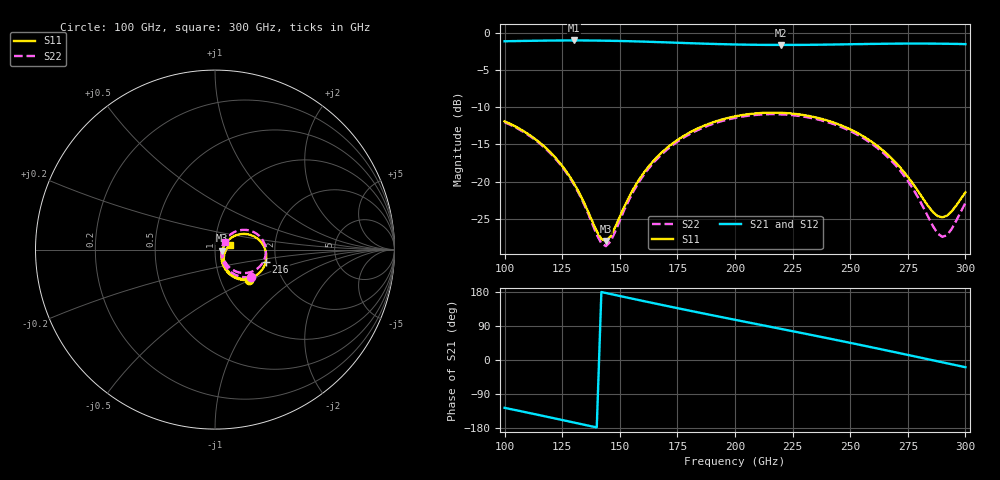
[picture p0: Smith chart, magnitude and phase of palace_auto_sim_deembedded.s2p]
! Created with skrf 1.11.0 (http://scikit-rf.org).
# GHz S DB R 50.0
!freq dBS11 angS11 dBS21 angS21 dBS12 angS12 dBS22 angS22
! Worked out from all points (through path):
!   101 points, 100 GHz to 300 GHz, reference 50 ohm
!   highest |S21| = -1.04 dB at 130 GHz (marker M1); lowest = -1.6 dB at 220 GHz (marker M2)
!   group delay of S21, straight-line fit = 3.48 ps
!   lowest |S11| = -28.0 dB at 144 GHz (marker M3), VSWR 1.08, Z = 54.1 - j0.714 ohm
!   |S11| at or under -10 dB: start of sweep to end of sweep
!   |S22| runs from -28.7 to -10.9 dB; largest |S21 - S12| = 9.8e-14
!   S11 on the Smith chart (normalised r, x): 100 GHz: 1.37, -0.49; 216 GHz: 1.76, -0.26; 300 GHz: 1.17, +0.06
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100  -11.91 -41.6  -1.15 -126.2  -1.15 -126.2  -12.03 -37.3
118  -15.51 -58.2  -1.06 -149.3  -1.06 -149.3  -15.64 -53.3
130  -20.18 -62.5  -1.04 -164.9  -1.04 -164.9  -20.34 -57.7
134  -22.51 -59.3  -1.04 -170.1  -1.04 -170.1  -22.71 -54.7
140  -26.68 -39.5  -1.06 -178.0  -1.06 -178.0  -27.13 -35.3
142  -27.71 -25.8  -1.06 179.3  -1.06 179.3  -28.31 -21.1
144  -27.97 -9.5  -1.07 176.7  -1.07 176.7  -28.68 -3.6
146  -27.33 6.0  -1.08 174.1  -1.08 174.1  -28.03 13.1
158  -19.90 36.1  -1.17 158.5  -1.17 158.5  -20.22 44.8
168  -16.15 32.6  -1.27 145.7  -1.27 145.7  -16.39 41.5
184  -12.84 19.0  -1.44 125.7  -1.44 125.7  -13.05 28.2
200  -11.24 3.1  -1.58 106.1  -1.58 106.1  -11.44 12.8
216  -10.74 -13.2  -1.64 86.9  -1.64 86.9  -10.94 -3.2
220  -10.76 -17.3  -1.64 82.0  -1.64 82.0  -10.97 -7.2
234  -11.31 -31.4  -1.62 65.1  -1.62 65.1  -11.52 -21.1
252  -13.28 -48.3  -1.54 42.8  -1.54 42.8  -13.51 -38.3
268  -16.89 -58.6  -1.47 22.4  -1.47 22.4  -17.23 -50.0
276  -19.77 -57.6  -1.46 12.1  -1.46 12.1  -20.37 -50.9
286  -24.12 -36.2  -1.46 -0.9  -1.46 -0.9  -26.03 -30.6
290  -24.81 -17.4  -1.48 -6.1  -1.48 -6.1  -27.43 -6.2
294  -24.01 1.1  -1.49 -11.3  -1.49 -11.3  -26.39 19.4
300  -21.43 17.1  -1.53 -19.0  -1.53 -19.0  -22.88 38.6
